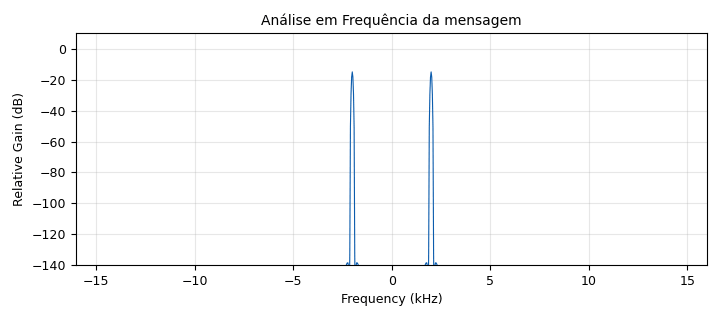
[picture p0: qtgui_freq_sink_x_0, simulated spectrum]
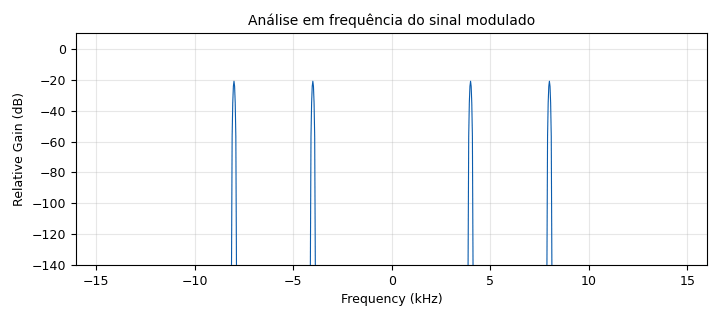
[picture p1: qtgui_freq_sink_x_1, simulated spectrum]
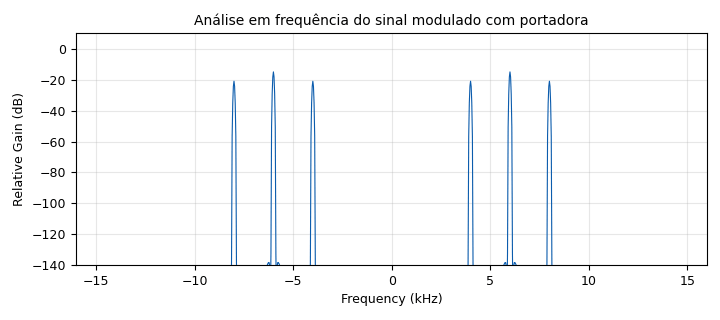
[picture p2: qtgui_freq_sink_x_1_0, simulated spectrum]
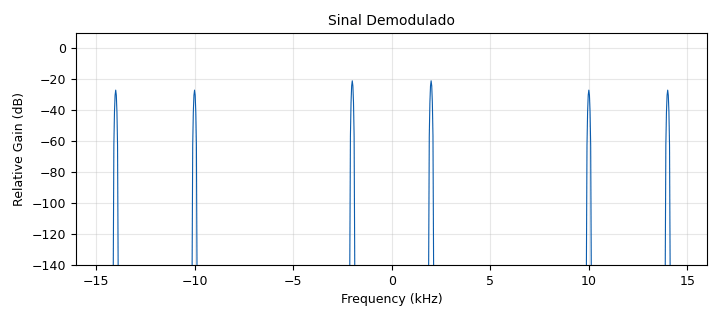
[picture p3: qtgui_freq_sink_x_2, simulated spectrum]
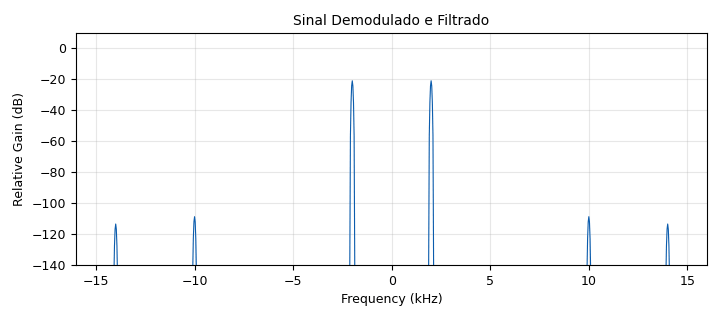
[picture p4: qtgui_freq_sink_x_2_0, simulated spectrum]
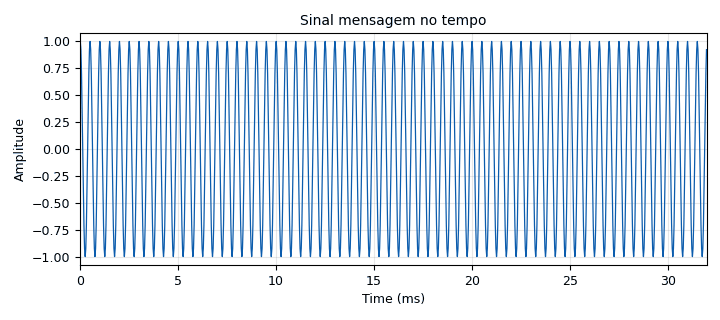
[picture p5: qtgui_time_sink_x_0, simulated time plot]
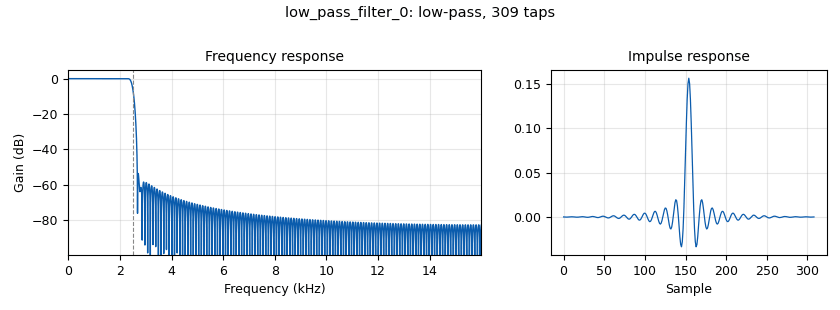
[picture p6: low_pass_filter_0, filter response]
options:
  parameters:
    generate_options: qt_gui
    id: test_gnuradio_lab_00
    output_language: python
    title: Not titled yet
  states: {}

blocks:
- name: frequencia
  id: variable_qtgui_range
  parameters:
    start: '100'
    step: '10'
    stop: '2000'
    value: '1000'
  states: {}
- name: samp_rate
  id: variable
  parameters:
    value: '32000'
  states: {}
- name: analog_sig_source_x_0
  id: analog_sig_source_x
  parameters:
    amp: '1'
    freq: 2e3
    offset: '0'
    phase: '0'
    samp_rate: samp_rate
    type: float
    waveform: analog.GR_COS_WAVE
  states: {}
- name: analog_sig_source_x_1
  id: analog_sig_source_x
  parameters:
    amp: '1'
    freq: 6e3
    offset: '0'
    phase: '0'
    samp_rate: samp_rate
    type: float
    waveform: analog.GR_COS_WAVE
  states: {}
- name: analog_sig_source_x_1_0
  id: analog_sig_source_x
  parameters:
    amp: '1'
    freq: 6e3
    offset: '0'
    phase: '0'
    samp_rate: samp_rate
    type: float
    waveform: analog.GR_COS_WAVE
  states: {}
- name: blocks_add_xx_0
  id: blocks_add_xx
  parameters:
    type: float
  states: {}
- name: blocks_multiply_xx_0
  id: blocks_multiply_xx
  parameters:
    type: float
  states: {}
- name: blocks_multiply_xx_0_0
  id: blocks_multiply_xx
  parameters:
    type: float
  states: {}
- name: blocks_throttle_0
  id: blocks_throttle
  parameters:
    samples_per_second: samp_rate
    type: float
  states: {}
- name: blocks_vector_source_x_0
  id: blocks_vector_source_x
  parameters:
    repeat: 'True'
    type: float
    vector: '512*[1] + 512*[0] '
  states: {state: disabled}
- name: low_pass_filter_0
  id: low_pass_filter
  parameters:
    cutoff_freq: 2.5e3
    decim: '1'
    gain: '1'
    samp_rate: samp_rate
    type: fir_filter_fff
    width: '250'
    win: window.WIN_HAMMING
  states: {}
- name: qtgui_freq_sink_x_0
  id: qtgui_freq_sink_x
  parameters:
    bw: samp_rate
    fc: '0'
    fftsize: '1024'
    name: Análise em Frequência da mensagem
    type: float
  states: {}
- name: qtgui_freq_sink_x_1
  id: qtgui_freq_sink_x
  parameters:
    bw: samp_rate
    fc: '0'
    fftsize: '1024'
    name: Análise em frequência do sinal modulado
    type: float
  states: {}
- name: qtgui_freq_sink_x_1_0
  id: qtgui_freq_sink_x
  parameters:
    bw: samp_rate
    fc: '0'
    fftsize: '1024'
    name: Análise em frequência do sinal modulado com portadora
    type: float
  states: {}
- name: qtgui_freq_sink_x_2
  id: qtgui_freq_sink_x
  parameters:
    bw: samp_rate
    fc: '0'
    fftsize: '1024'
    name: Sinal Demodulado
    type: float
  states: {}
- name: qtgui_freq_sink_x_2_0
  id: qtgui_freq_sink_x
  parameters:
    bw: samp_rate
    fc: '0'
    fftsize: '1024'
    name: Sinal Demodulado e Filtrado
    type: float
  states: {}
- name: qtgui_time_sink_x_0
  id: qtgui_time_sink_x
  parameters:
    name: Sinal mensagem no tempo
    size: '1024'
    srate: samp_rate
    type: float
  states: {}
- name: qtgui_time_sink_x_1
  id: qtgui_time_sink_x
  parameters:
    name: Sinal Modulado no tempo
    size: '1024'
    srate: samp_rate
    type: float
  states: {}
- name: qtgui_time_sink_x_2
  id: qtgui_time_sink_x
  parameters:
    name: Mensagem estimada
    size: '1024'
    srate: samp_rate
    type: float
  states: {}
- name: virtual_sink_0
  id: virtual_sink
  parameters:
    stream_id: s_dsb
  states: {}
- name: virtual_source_0
  id: virtual_source
  parameters:
    stream_id: s_dsb
  states: {}

connections:
- [analog_sig_source_x_0, '0', blocks_throttle_0, '0']
- [analog_sig_source_x_1, '0', blocks_add_xx_0, '1']
- [analog_sig_source_x_1, '0', blocks_multiply_xx_0, '1']
- [analog_sig_source_x_1_0, '0', blocks_multiply_xx_0_0, '1']
- [blocks_add_xx_0, '0', qtgui_freq_sink_x_1_0, '0']
- [blocks_multiply_xx_0, '0', blocks_add_xx_0, '0']
- [blocks_multiply_xx_0, '0', qtgui_freq_sink_x_1, '0']
- [blocks_multiply_xx_0, '0', qtgui_time_sink_x_1, '0']
- [blocks_multiply_xx_0, '0', virtual_sink_0, '0']
- [blocks_multiply_xx_0_0, '0', low_pass_filter_0, '0']
- [blocks_multiply_xx_0_0, '0', qtgui_freq_sink_x_2, '0']
- [blocks_throttle_0, '0', blocks_multiply_xx_0, '0']
- [blocks_throttle_0, '0', qtgui_freq_sink_x_0, '0']
- [blocks_throttle_0, '0', qtgui_time_sink_x_0, '0']
- [blocks_vector_source_x_0, '0', blocks_throttle_0, '0']
- [low_pass_filter_0, '0', qtgui_freq_sink_x_2_0, '0']
- [low_pass_filter_0, '0', qtgui_time_sink_x_2, '0']
- [virtual_source_0, '0', blocks_multiply_xx_0_0, '0']

metadata:
  file_format: 1
